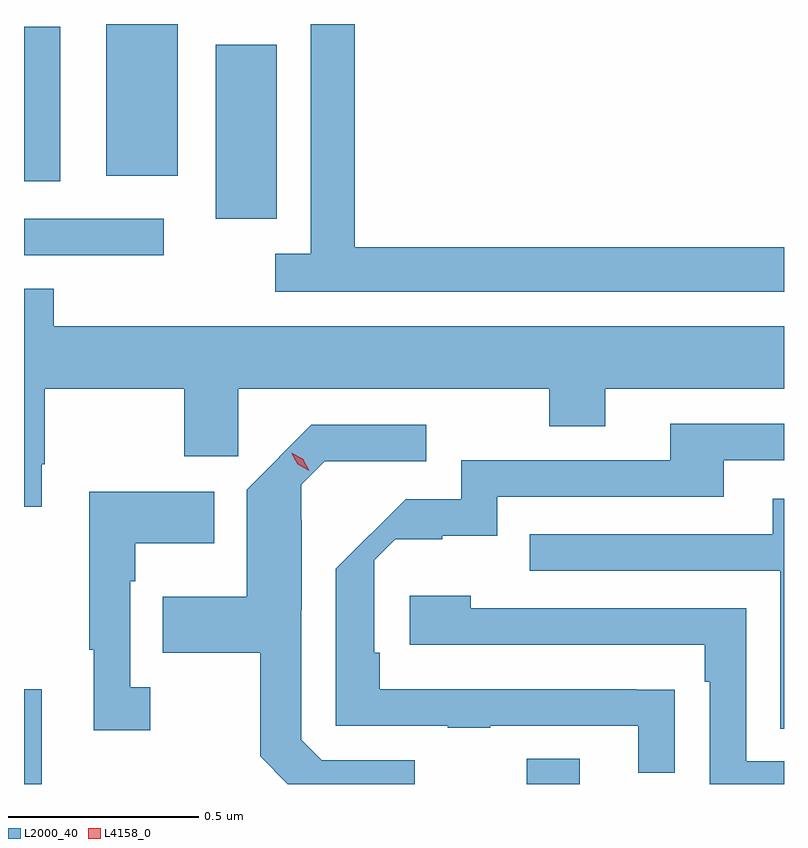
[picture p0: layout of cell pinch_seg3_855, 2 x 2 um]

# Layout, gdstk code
import gdstk
lib = gdstk.Library(unit=1e-6, precision=1e-09)
def R(c, l, rs):  # rectangles x0, y0, x1, y1
    for r in rs: c.add(gdstk.rectangle(r[:2], r[2:], *l))
def P(c, l, *ps):  # polygons
    for p in ps: c.add(gdstk.Polygon(p, *l))
L2000_40 = (2000, 40)
L4158_0 = (4158, 0)

pinch_seg3_855 = lib.new_cell('pinch_seg3_855')
R(pinch_seg3_855, L2000_40, [(683.228,709.2,683.275,709.45), (684.551,709.2,684.691,709.267), (683.228,710.592,683.596,710.688), (683.732,710.687,683.893,711.145), (683.228,710.786,683.323,711.193), (683.444,710.801,683.632,711.199)])
P(pinch_seg3_855, L2000_40, [(685.228,710.612),(684.098,710.612),(684.098,711.2),(683.982,711.2),(683.982,710.596),(683.889,710.596),(683.889,710.496),(685.228,710.496)],
  [(683.275,710.041),(683.283,710.041),(683.283,710.24),(683.65,710.24),(683.65,710.062),(683.792,710.062),(683.792,710.24),(684.61,710.24),(684.61,710.141),(684.757,710.141),(684.757,710.24),(685.228,710.24),(685.228,710.404),(683.306,710.404),(683.306,710.503),(683.228,710.503),(683.228,709.929),(683.275,709.929)],
  [(684.941,709.448),(684.839,709.448),(684.839,709.449),(684.164,709.449),(684.164,709.546),(684.15,709.546),(684.15,709.789),(684.205,709.844),(684.329,709.844),(684.329,709.853),(684.474,709.853),(684.474,709.956),(685.069,709.956),(685.069,710.052),(685.228,710.052),(685.228,710.148),(684.929,710.148),(684.929,710.052),(684.378,710.052),(684.378,709.95),(684.232,709.95),(684.048,709.766),(684.048,709.353),(684.343,709.353),(684.343,709.348),(684.455,709.348),(684.455,709.353),(684.845,709.353),(684.845,709.23),(684.941,709.23)],
  [(684.256,709.263),(684.012,709.263),(683.958,709.317),(683.958,709.657),(683.959,709.657),(683.959,709.895),(683.958,709.895),(683.958,709.987),(684.02,710.049),(684.286,710.049),(684.286,710.145),(683.984,710.145),(683.814,709.975),(683.814,709.693),(683.593,709.693),(683.593,709.546),(683.85,709.546),(683.85,709.273),(683.922,709.2),(684.256,709.2)],
  [(683.56,709.454),(683.508,709.454),(683.508,709.733),(683.521,709.733),(683.521,709.833),(683.729,709.833),(683.729,709.969),(683.4,709.969),(683.4,709.553),(683.411,709.553),(683.411,709.341),(683.56,709.341)],
  [(685.228,709.951),(685.199,709.951),(685.199,709.857),(684.559,709.857),(684.559,709.761),(685.218,709.761),(685.218,709.345),(685.228,709.345)],
  [(685.228,709.26),(685.128,709.26),(685.128,709.662),(684.404,709.662),(684.404,709.696),(684.243,709.696),(684.243,709.566),(685.019,709.566),(685.019,709.469),(685.032,709.469),(685.032,709.2),(685.228,709.2)])
P(pinch_seg3_855, L4158_0, [(683.979,710.025),(683.948,710.041),(683.931,710.072),(683.931,710.072),(683.931,710.072),(683.962,710.056),(683.979,710.025),(683.979,710.025)])

lib.write_gds('pinch_seg3_855.gds')
